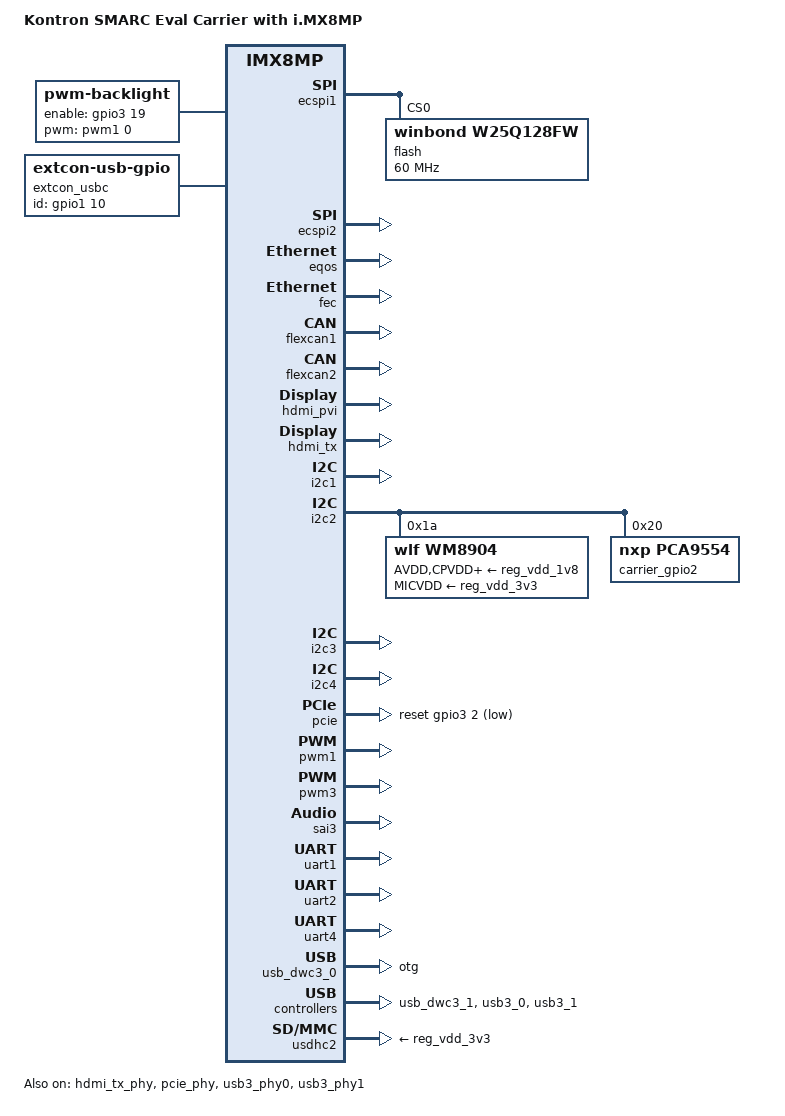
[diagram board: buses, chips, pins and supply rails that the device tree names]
// SPDX-License-Identifier: GPL-2.0+ OR MIT
/*
 * Copyright (C) 2024 Kontron Electronics GmbH
 */

/dts-v1/;

#include <dt-bindings/phy/phy-imx8-pcie.h>
#include "imx8mp-kontron-smarc.dtsi"

/ {
	model = "Kontron SMARC Eval Carrier with i.MX8MP";
	compatible = "kontron,imx8mp-smarc-eval-carrier", "kontron,imx8mp-smarc",
		     "kontron,imx8mp-osm-s", "fsl,imx8mp";

	backlight: backlight {
		compatible = "pwm-backlight";
		pwms = <&pwm1 0 50000 0>;
		brightness-levels = <0 100>;
		num-interpolated-steps = <100>;
		default-brightness-level = <100>;
		enable-gpios = <&gpio3 19 GPIO_ACTIVE_HIGH>;
	};

	extcon_usbc: usbc {
		compatible = "linux,extcon-usb-gpio";
		pinctrl-names = "default";
		pinctrl-0 = <&pinctrl_usb1_id>;
		id-gpios = <&gpio1 10 GPIO_ACTIVE_HIGH>;
	};

	sound {
		compatible = "simple-audio-card";
		simple-audio-card,bitclock-master = <&codec_dai>;
		simple-audio-card,format = "i2s";
		simple-audio-card,frame-master = <&codec_dai>;
		simple-audio-card,mclk-fs = <256>;
		simple-audio-card,name = "imx8mp-wm8904";
		simple-audio-card,routing =
			"Headphone Jack", "HPOUTL",
			"Headphone Jack", "HPOUTR",
			"IN2L", "Line In Jack",
			"IN2R", "Line In Jack",
			"Headphone Jack", "MICBIAS",
			"IN1L", "Headphone Jack";
		simple-audio-card,widgets =
			"Microphone", "Headphone Jack",
			"Headphone", "Headphone Jack",
			"Line", "Line In Jack";

		codec_dai: simple-audio-card,codec {
			clocks = <&audio_blk_ctrl IMX8MP_CLK_AUDIOMIX_SAI3_MCLK1>;
			sound-dai = <&wm8904>;
		};

		simple-audio-card,cpu {
			sound-dai = <&sai3>;
		};
	};
};

&ecspi1 {
	status = "okay";

	flash@0 {
		compatible = "winbond,w25q128fw", "jedec,spi-nor";
		reg = <0>;
		spi-max-frequency = <60000000>;
	};
};

&ecspi2 {
	status = "okay";
};

&eqos {
	status = "okay";
};

&fec {
	status = "okay";
};

&flexcan1 {
	status = "okay";
};

&flexcan2 {
	status = "okay";
};

&hdmi_pvi {
	status = "okay";
};

&hdmi_tx {
	pinctrl-names = "default";
	pinctrl-0 = <&pinctrl_hdmi>;
	ddc-i2c-bus = <&i2c3>;
	status = "okay";
};

&hdmi_tx_phy {
	status = "okay";
};

&i2c1 {
	status = "okay";
};

&i2c2 {
	status = "okay";

	wm8904: audio-codec@1a {
		compatible = "wlf,wm8904";
		reg = <0x1a>;
		#sound-dai-cells = <0>;
		clocks = <&audio_blk_ctrl IMX8MP_CLK_AUDIOMIX_SAI3_MCLK1>;
		clock-names = "mclk";
		AVDD-supply = <&reg_vdd_1v8>;
		CPVDD-supply = <&reg_vdd_1v8>;
		DBVDD-supply = <&reg_vdd_1v8>;
		DCVDD-supply = <&reg_vdd_1v8>;
		MICVDD-supply = <&reg_vdd_3v3>;
	};

	carrier_gpio2: tca9554@20 {
		compatible = "nxp,pca9554";
		reg = <0x20>;
		gpio-controller;
		#gpio-cells = <2>;
		status = "okay";
	};
};

&i2c3 {
	status = "okay";
};

&i2c4 {
	status = "okay";
};

&pcie_phy {
	fsl,refclk-pad-mode = <IMX8_PCIE_REFCLK_PAD_OUTPUT>;
	fsl,clkreq-unsupported;
	clocks = <&hsio_blk_ctrl>;
	clock-names = "ref";
	status = "okay";
};

&pcie {
	pinctrl-names = "default";
	pinctrl-0 = <&pinctrl_pcie>;
	reset-gpio = <&gpio3 2 GPIO_ACTIVE_LOW>;
	status = "okay";
};

&pwm1 {
	status = "okay";
};

&pwm3 {
	status = "okay";
};

&sai3 {
	assigned-clocks = <&clk IMX8MP_CLK_SAI3>;
	assigned-clock-parents = <&clk IMX8MP_AUDIO_PLL1_OUT>;
	assigned-clock-rates = <24576000>;
	fsl,sai-mclk-direction-output;
	status = "okay";
};

&uart1 {
	uart-has-rtscts;
	status = "okay";
};

&uart2 {
	status = "okay";
};

&uart4 {
	uart-has-rtscts;
	status = "okay";
};

&usb_dwc3_0 {
	adp-disable;
	hnp-disable;
	srp-disable;

	dr_mode = "otg";
	extcon = <&extcon_usbc>;
	usb-role-switch;
	status = "okay";
};

&usb_dwc3_1 {
	status = "okay";
};

&usb3_0 {
	status = "okay";
};

&usb3_1 {
	status = "okay";
};

&usb3_phy0 {
	vbus-supply = <&reg_usb1_vbus>;
	status = "okay";
};

&usb3_phy1 {
	status = "okay";
};

&usdhc2 {
	vmmc-supply = <&reg_vdd_3v3>;
	status = "okay";
};
